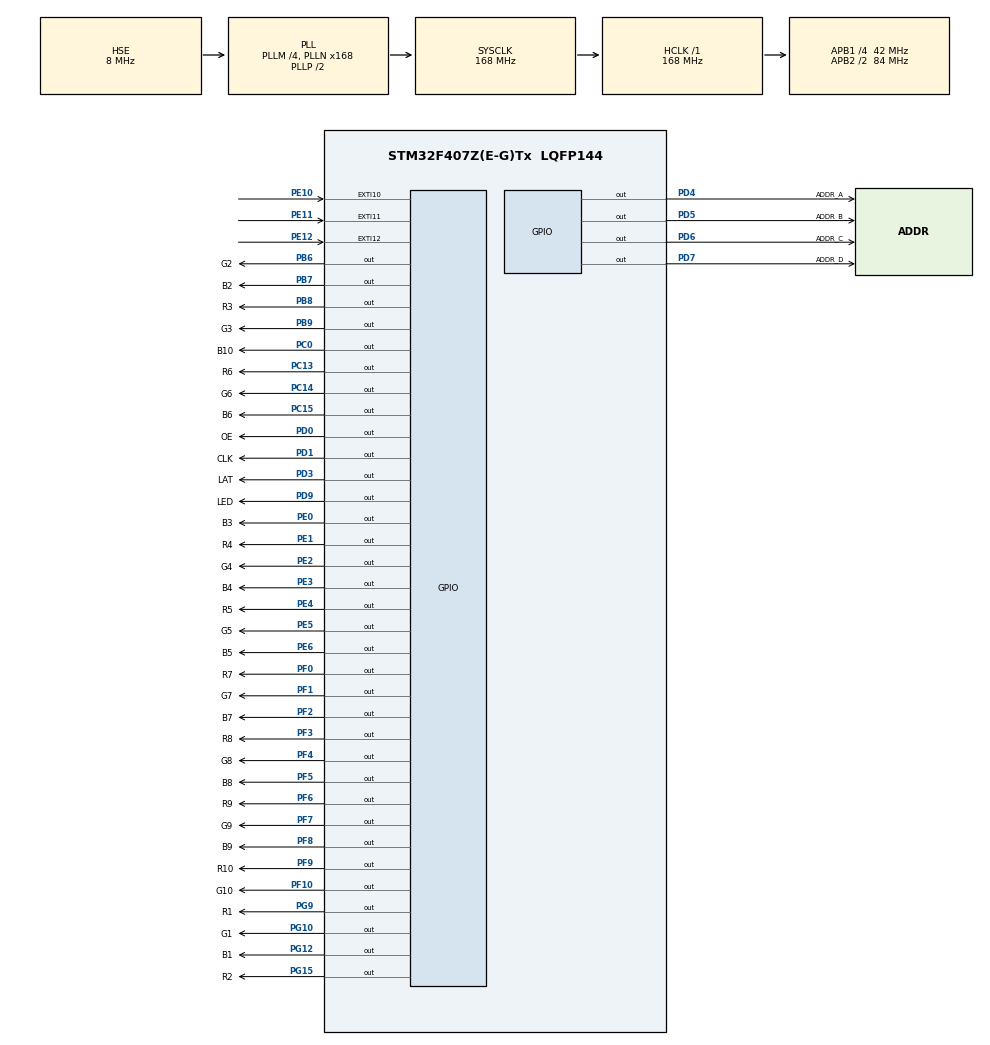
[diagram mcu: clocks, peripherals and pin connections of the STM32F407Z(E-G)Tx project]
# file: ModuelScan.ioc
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Mcu.Family=STM32F4
Mcu.Name=STM32F407Z(E-G)Tx
Mcu.Package=LQFP144
NVIC.EXTI15_10_IRQn=true\:5\:0\:true\:false\:true\:true\:true\:true
NVIC.PriorityGroup=NVIC_PRIORITYGROUP_4
NVIC.TIM3_IRQn=true\:7\:0\:true\:false\:true\:true\:true\:true
NVIC.TIM4_IRQn=true\:6\:0\:true\:false\:true\:true\:true\:true
PA13.Mode=Serial_Wire
PA13.Signal=SYS_JTMS-SWDIO
PA14.Mode=Serial_Wire
PA14.Signal=SYS_JTCK-SWCLK
PB6.GPIO_Label=G2
PB6.Signal=GPIO_Output
PB7.GPIO_Label=B2
PB7.Signal=GPIO_Output
PB8.GPIO_Label=R3
PB8.Signal=GPIO_Output
PB9.GPIO_Label=G3
PB9.Signal=GPIO_Output
PC0.GPIO_Label=B10
PC0.Signal=GPIO_Output
PC13-ANTI_TAMP.GPIO_Label=R6
PC13-ANTI_TAMP.Signal=GPIO_Output
PC14-OSC32_IN.GPIO_Label=G6
PC14-OSC32_IN.Signal=GPIO_Output
PC15-OSC32_OUT.GPIO_Label=B6
PC15-OSC32_OUT.Signal=GPIO_Output
PD0.GPIO_Label=OE
PD0.Signal=GPIO_Output
PD1.GPIO_Label=CLK
PD1.Signal=GPIO_Output
PD3.GPIO_Label=LAT
PD3.Signal=GPIO_Output
PD4.GPIO_Label=ADDR_A
PD4.Signal=GPIO_Output
PD5.GPIO_Label=ADDR_B
PD5.Signal=GPIO_Output
PD6.GPIO_Label=ADDR_C
PD6.Signal=GPIO_Output
PD7.GPIO_Label=ADDR_D
PD7.Signal=GPIO_Output
PD9.GPIO_Label=LED
PD9.Signal=GPIO_Output
PE0.GPIO_Label=B3
PE0.Signal=GPIO_Output
PE1.GPIO_Label=R4
PE1.Signal=GPIO_Output
PE10.GPIO_ModeDefaultEXTI=GPIO_MODE_IT_FALLING
PE10.GPIO_PuPd=GPIO_PULLUP
PE10.Signal=GPXTI10
PE11.GPIO_ModeDefaultEXTI=GPIO_MODE_IT_FALLING
PE11.GPIO_PuPd=GPIO_PULLUP
PE11.Signal=GPXTI11
PE12.GPIO_ModeDefaultEXTI=GPIO_MODE_IT_FALLING
PE12.GPIO_PuPd=GPIO_PULLUP
PE12.Signal=GPXTI12
PE2.GPIO_Label=G4
PE2.Signal=GPIO_Output
PE3.GPIO_Label=B4
PE3.Signal=GPIO_Output
PE4.GPIO_Label=R5
PE4.Signal=GPIO_Output
PE5.GPIO_Label=G5
PE5.Signal=GPIO_Output
PE6.GPIO_Label=B5
PE6.Signal=GPIO_Output
PF0.GPIO_Label=R7
PF0.Signal=GPIO_Output
PF1.GPIO_Label=G7
PF1.Signal=GPIO_Output
PF10.GPIO_Label=G10
PF10.Signal=GPIO_Output
PF2.GPIO_Label=B7
PF2.Signal=GPIO_Output
PF3.GPIO_Label=R8
PF3.Signal=GPIO_Output
PF4.GPIO_Label=G8
PF4.Signal=GPIO_Output
PF5.GPIO_Label=B8
PF5.Signal=GPIO_Output
PF6.GPIO_Label=R9
PF6.Signal=GPIO_Output
PF7.GPIO_Label=G9
PF7.Signal=GPIO_Output
PF8.GPIO_Label=B9
PF8.Signal=GPIO_Output
PF9.GPIO_Label=R10
PF9.Signal=GPIO_Output
PG10.GPIO_Label=G1
PG10.Signal=GPIO_Output
PG12.GPIO_Label=B1
PG12.Signal=GPIO_Output
PG15.GPIO_Label=R2
PG15.Signal=GPIO_Output
PG9.GPIO_Label=R1
PG9.Signal=GPIO_Output
PH0-OSC_IN.Mode=HSE-External-Oscillator
PH0-OSC_IN.Signal=RCC_OSC_IN
PH1-OSC_OUT.Mode=HSE-External-Oscillator
PH1-OSC_OUT.Signal=RCC_OSC_OUT
ProjectManager.HeapSize=0x200
ProjectManager.StackSize=0x080
ProjectManager.TargetToolchain=CMake
RCC.48MHZClocksFreq_Value=84000000
RCC.AHBFreq_Value=168000000
RCC.APB1CLKDivider=RCC_HCLK_DIV4
RCC.APB1Freq_Value=42000000
RCC.APB1TimFreq_Value=84000000
RCC.APB2CLKDivider=RCC_HCLK_DIV2
RCC.APB2Freq_Value=84000000
RCC.APB2TimFreq_Value=168000000
RCC.CortexFreq_Value=168000000
RCC.HCLKFreq_Value=168000000
RCC.HSE_VALUE=8000000
RCC.HSI_VALUE=16000000
RCC.LSE_VALUE=32768
RCC.PLLM=4
RCC.PLLN=168
RCC.PLLSourceVirtual=RCC_PLLSOURCE_HSE
RCC.SYSCLKFreq_VALUE=168000000
RCC.SYSCLKSource=RCC_SYSCLKSOURCE_PLLCLK
RCC.VCOOutputFreq_Value=336000000
TIM3.AutoReloadPreload=TIM_AUTORELOAD_PRELOAD_ENABLE
TIM3.Period=1000-1
TIM3.Prescaler=84-1
TIM4.AutoReloadPreload=TIM_AUTORELOAD_PRELOAD_ENABLE
TIM4.Period=10-1
TIM4.Prescaler=84-1
VP_TIM3_VS_ClockSourceINT.Mode=Internal
VP_TIM4_VS_ClockSourceINT.Mode=Internal
board=custom

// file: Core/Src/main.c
/* USER CODE BEGIN Header */
/**
 ******************************************************************************
 * @file           : main.c
 * @brief          : Main program body
 ******************************************************************************
 * @attention
 *
 * Copyright (c) 2025 STMicroelectronics.
 * All rights reserved.
 *
 * This software is licensed under terms that can be found in the LICENSE file
 * in the root directory of this software component.
 * If no LICENSE file comes with this software, it is provided AS-IS.
 *
 ******************************************************************************
 */
/* USER CODE END Header */
#include "main.h"
#include "gpio.h"
#include "tim.h"

/* USER CODE BEGIN Includes */
#include "SEGGER_RTT.h"
#include "display.h"
#include "function.h"
#include "hub75.h"
#include "key.h"
#include "pic.h"
/* USER CODE END Includes */

void SystemClock_Config(void);

int main(void)
{

    /* MCU Configuration--------------------------------------------------------*/

    /* Reset of all peripherals, Initializes the Flash interface and the Systick. */
    HAL_Init();

    /* Configure the system clock */
    SystemClock_Config();

    /* USER CODE BEGIN SysInit */
    __HAL_DBGMCU_FREEZE_TIM3(); // 冻结TIM3
    __HAL_DBGMCU_FREEZE_TIM4(); // 冻结TIM4
    SEGGER_RTT_Init();
    /* USER CODE END SysInit */

    /* Initialize all configured peripherals */
    MX_GPIO_Init();
    MX_TIM3_Init();
    MX_TIM4_Init();
    /* USER CODE BEGIN 2 */
    init_hub75();
    HAL_TIM_Base_Start_IT(&htim3);
    HAL_TIM_Base_Start_IT(&htim4);

    // SEGGER_RTT_printf(0, "pixel_map: %d\n", pixel_map[0]);

    point_order_test(black, DISRAM_SIZE, 0);
    // HUB75_C = 1;
    // HUB75_D = 1;
    /* USER CODE END 2 */

    /* Infinite loop */
    /* USER CODE BEGIN WHILE */
    while (1) {
        for (int i = SCREEN_PIXEL_ROW * 3; i < DISRAM_SIZE; i++) {
            pixel_map[i] = green;

            convert_pixelmap();
            HAL_Delay(50);

            pixel_map[i] = black;
        }

        /* USER CODE END WHILE */

        /* USER CODE BEGIN 3 */
        // HUB75_A = 1;
        // HAL_TIM_Base_Stop_IT(&htim3);
        // point_order_test(red, 1, 0);
        // HAL_Delay(500);
    }

    /* USER CODE END 3 */
}

void SystemClock_Config(void)
{
    RCC_OscInitTypeDef RCC_OscInitStruct = {0};
    RCC_ClkInitTypeDef RCC_ClkInitStruct = {0};

    /** Configure the main internal regulator output voltage
  */
    __HAL_RCC_PWR_CLK_ENABLE();
    __HAL_PWR_VOLTAGESCALING_CONFIG(PWR_REGULATOR_VOLTAGE_SCALE1);

    /** Initializes the RCC Oscillators according to the specified parameters
  * in the RCC_OscInitTypeDef structure.
  */
    RCC_OscInitStruct.OscillatorType = RCC_OSCILLATORTYPE_HSE;
    RCC_OscInitStruct.HSEState       = RCC_HSE_ON;
    RCC_OscInitStruct.PLL.PLLState   = RCC_PLL_ON;
    RCC_OscInitStruct.PLL.PLLSource  = RCC_PLLSOURCE_HSE;
    RCC_OscInitStruct.PLL.PLLM       = 4;
    RCC_OscInitStruct.PLL.PLLN       = 168;
    RCC_OscInitStruct.PLL.PLLP       = RCC_PLLP_DIV2;
    RCC_OscInitStruct.PLL.PLLQ       = 4;
    if (HAL_RCC_OscConfig(&RCC_OscInitStruct) != HAL_OK) {
        Error_Handler();
    }

    /** Initializes the CPU, AHB and APB buses clocks
  */
    RCC_ClkInitStruct.ClockType      = RCC_CLOCKTYPE_HCLK | RCC_CLOCKTYPE_SYSCLK | RCC_CLOCKTYPE_PCLK1 | RCC_CLOCKTYPE_PCLK2;
    RCC_ClkInitStruct.SYSCLKSource   = RCC_SYSCLKSOURCE_PLLCLK;
    RCC_ClkInitStruct.AHBCLKDivider  = RCC_SYSCLK_DIV1;
    RCC_ClkInitStruct.APB1CLKDivider = RCC_HCLK_DIV4;
    RCC_ClkInitStruct.APB2CLKDivider = RCC_HCLK_DIV2;

    if (HAL_RCC_ClockConfig(&RCC_ClkInitStruct, FLASH_LATENCY_5) != HAL_OK) {
        Error_Handler();
    }
}

void Error_Handler(void)
{
    __disable_irq();
    while (1) {
    }
}
#ifdef USE_FULL_ASSERT
/**
  * @brief  Reports the name of the source file and the source line number
  *         where the assert_param error has occurred.
  * @param  file: pointer to the source file name
  * @param  line: assert_param error line source number
  * @retval None
  */
void assert_failed(uint8_t* file, uint32_t line)
{
    /* USER CODE BEGIN 6 */
    /* User can add his own implementation to report the file name and line
       number, ex: printf("Wrong parameters value: file %s on line %d\r\n", file,
       line) */
    /* USER CODE END 6 */
}
#endif /* USE_FULL_ASSERT */
